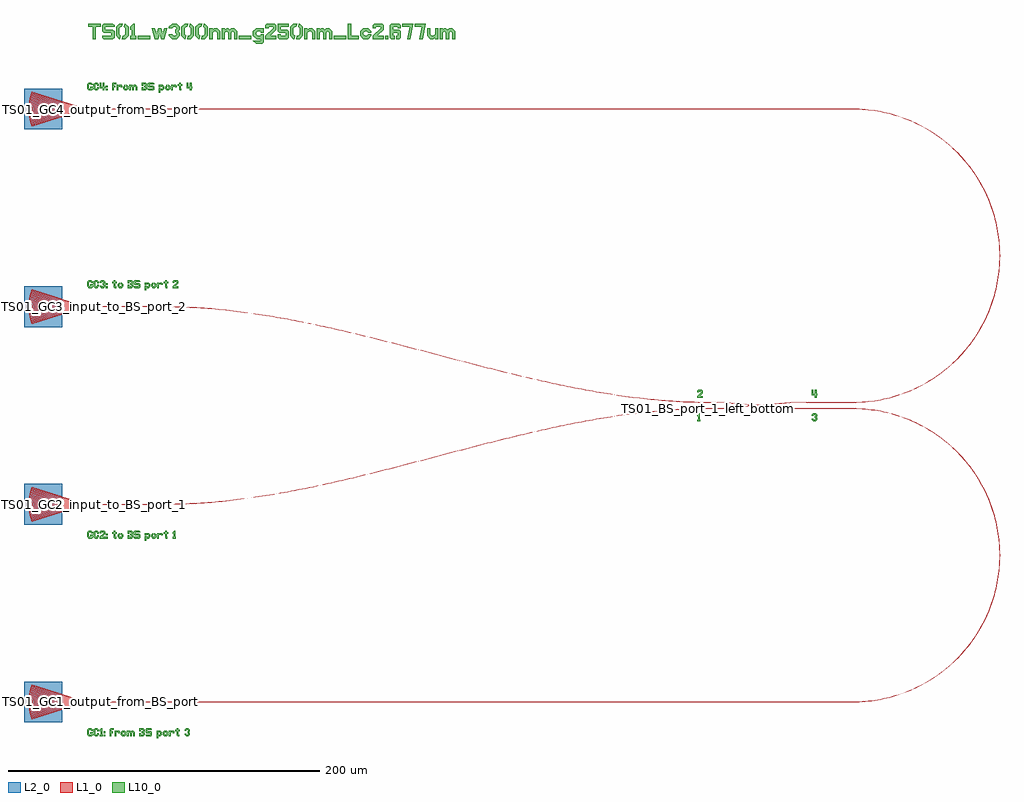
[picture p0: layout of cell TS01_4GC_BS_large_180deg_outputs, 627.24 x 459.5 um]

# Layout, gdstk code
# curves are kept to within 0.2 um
from math import pi, radians
import gdstk
lib = gdstk.Library(unit=1e-6, precision=1e-09)
def R(c, l, rs):  # rectangles x0, y0, x1, y1
    for r in rs: c.add(gdstk.rectangle(r[:2], r[2:], *l))
def P(c, l, *ps):  # polygons
    for p in ps: c.add(gdstk.Polygon(p, *l))
L1_0 = (1, 0)
L2_0 = (2, 0)
L10_0 = (10, 0)

grating_coupler_ellipti_ = lib.new_cell('grating_coupler_ellipti_2639d331')
P(grating_coupler_ellipti_, L1_0, [(15.723,-4.923),(0,-0.25),(0,0.25),(15.723,4.923),(16.379,2.5),(16.6,0),(16.379,-2.5)],
  [(16.17,-5.184),(16.048,-5.018),(16.502,-3.548),(16.798,-2.041),(16.906,-1.023),(16.942,0),(16.906,1.023),(16.798,2.041),(16.502,3.548),(16.048,5.018),(16.17,5.184),(16.37,5.134),(16.698,4.138),(16.954,3.121),(17.202,1.569),(17.286,0),(17.202,-1.569),(16.954,-3.121),(16.698,-4.138),(16.37,-5.134)],
  [(16.819,-5.387),(16.697,-5.221),(17.169,-3.692),(17.438,-2.387),(17.59,-1.065),(17.627,0),(17.59,1.065),(17.438,2.387),(17.169,3.692),(16.697,5.221),(16.819,5.387),(17.019,5.337),(17.36,4.302),(17.626,3.245),(17.884,1.631),(17.971,0),(17.884,-1.631),(17.626,-3.245),(17.36,-4.302),(17.019,-5.337)],
  [(17.469,-5.59),(17.345,-5.424),(17.837,-3.836),(18.115,-2.48),(18.273,-1.106),(18.312,0),(18.273,1.106),(18.115,2.48),(17.837,3.836),(17.345,5.424),(17.469,5.59),(17.669,5.54),(18.021,4.466),(18.298,3.368),(18.566,1.693),(18.656,0),(18.566,-1.693),(18.298,-3.368),(18.021,-4.466),(17.669,-5.54)],
  [(18.117,-5.793),(17.995,-5.627),(18.504,-3.979),(18.793,-2.573),(18.957,-1.147),(18.997,0),(18.957,1.147),(18.793,2.573),(18.504,3.979),(17.995,5.627),(18.117,5.793),(18.317,5.743),(18.683,4.63),(18.97,3.492),(19.248,1.755),(19.341,0),(19.248,-1.755),(18.97,-3.492),(18.683,-4.63),(18.317,-5.743)],
  [(18.767,-5.996),(18.643,-5.83),(19.171,-4.123),(19.47,-2.666),(19.64,-1.189),(19.682,0),(19.64,1.189),(19.47,2.666),(19.171,4.123),(18.643,5.83),(18.767,5.996),(18.967,5.946),(19.345,4.793),(19.641,3.615),(19.929,1.818),(20.026,0),(19.929,-1.818),(19.641,-3.615),(19.345,-4.793),(18.967,-5.946)],
  [(19.416,-6.199),(19.292,-6.034),(19.838,-4.267),(20.148,-2.759),(20.324,-1.23),(20.367,0),(20.324,1.23),(20.148,2.759),(19.838,4.267),(19.292,6.034),(19.416,6.199),(19.616,6.148),(20.007,4.957),(20.313,3.739),(20.611,1.88),(20.711,0),(20.611,-1.88),(20.313,-3.739),(20.007,-4.957),(19.616,-6.148)],
  [(20.063,-6.403),(19.941,-6.237),(20.505,-4.41),(20.826,-2.852),(20.982,-1.589),(21.052,0),(20.982,1.589),(20.826,2.852),(20.505,4.41),(19.941,6.237),(20.063,6.403),(20.263,6.353),(20.668,5.121),(20.985,3.862),(21.293,1.942),(21.396,0),(21.293,-1.942),(20.985,-3.862),(20.668,-5.121),(20.263,-6.353)],
  [(20.712,-6.606),(20.59,-6.44),(21.089,-4.872),(21.503,-2.945),(21.691,-1.313),(21.737,0),(21.691,1.313),(21.503,2.945),(21.089,4.872),(20.59,6.44),(20.712,6.606),(20.912,6.556),(21.33,5.285),(21.657,3.986),(21.974,2.004),(22.081,0),(21.974,-2.004),(21.657,-3.986),(21.33,-5.285),(20.912,-6.556)],
  [(21.362,-6.809),(21.238,-6.643),(21.84,-4.698),(22.181,-3.038),(22.374,-1.355),(22.422,0),(22.374,1.355),(22.181,3.038),(21.84,4.698),(21.238,6.643),(21.362,6.809),(21.562,6.759),(21.992,5.448),(22.329,4.109),(22.656,2.066),(22.766,0),(22.656,-2.066),(22.329,-4.109),(21.992,-5.448),(21.562,-6.759)],
  [(22.01,-7.012),(21.888,-6.846),(22.507,-4.841),(22.858,-3.131),(23.058,-1.396),(23.107,0),(23.058,1.396),(22.858,3.131),(22.507,4.841),(21.888,6.846),(22.01,7.012),(22.21,6.962),(22.33,6.628),(22.75,5.27),(23.001,4.233),(23.338,2.128),(23.451,0),(23.338,-2.128),(23.001,-4.233),(22.75,-5.27),(22.33,-6.628),(22.21,-6.962)],
  [(22.66,-7.215),(22.536,-7.049),(23.174,-4.985),(23.536,-3.224),(23.713,-1.796),(23.792,0),(23.713,1.796),(23.536,3.224),(23.174,4.985),(22.536,7.049),(22.66,7.215),(22.86,7.165),(22.982,6.821),(23.414,5.423),(23.673,4.356),(24.02,2.19),(24.136,0),(24.02,-2.19),(23.673,-4.356),(23.414,-5.423),(22.982,-6.821),(22.86,-7.165)],
  [(23.307,-7.418),(23.185,-7.252),(23.841,-5.129),(24.214,-3.317),(24.425,-1.479),(24.477,0),(24.425,1.479),(24.214,3.317),(23.841,5.129),(23.185,7.252),(23.307,7.418),(23.507,7.368),(23.634,7.016),(24.079,5.577),(24.345,4.48),(24.701,2.252),(24.821,0),(24.701,-2.252),(24.345,-4.48),(24.079,-5.577),(23.634,-7.016),(23.507,-7.368)],
  [(23.956,-7.622),(23.834,-7.456),(24.508,-5.273),(24.891,-3.41),(25.078,-1.9),(25.162,0),(25.078,1.9),(24.891,3.41),(24.508,5.273),(23.834,7.456),(23.956,7.622),(24.156,7.572),(24.41,6.841),(24.743,5.731),(25.094,4.225),(25.383,2.314),(25.506,0),(25.383,-2.314),(25.094,-4.225),(24.743,-5.731),(24.41,-6.841),(24.156,-7.572)],
  [(24.606,-7.825),(24.483,-7.659),(25.176,-5.416),(25.569,-3.502),(25.792,-1.562),(25.847,0),(25.792,1.562),(25.569,3.502),(25.176,5.416),(24.483,7.659),(24.606,7.825),(24.805,7.775),(25.066,7.026),(25.408,5.884),(25.768,4.338),(26.065,2.376),(26.191,0),(26.065,-2.376),(25.768,-4.338),(25.408,-5.884),(25.066,-7.026),(24.805,-7.775)],
  [(25.255,-8.028),(25.131,-7.862),(25.843,-5.56),(26.247,-3.595),(26.476,-1.603),(26.532,0),(26.476,1.603),(26.247,3.595),(25.843,5.56),(25.131,7.862),(25.255,8.028),(25.455,7.978),(25.722,7.209),(26.073,6.038),(26.442,4.451),(26.746,2.438),(26.876,0),(26.746,-2.438),(26.442,-4.451),(26.073,-6.038),(25.722,-7.209),(25.455,-7.978)],
  [(25.904,-8.231),(25.78,-8.066),(26.51,-5.704),(26.924,-3.688),(27.159,-1.645),(27.217,0),(27.159,1.645),(26.924,3.688),(26.51,5.704),(25.78,8.066),(25.904,8.231),(26.104,8.18),(26.377,7.393),(26.737,6.192),(27.116,4.565),(27.428,2.501),(27.561,0),(27.428,-2.501),(27.116,-4.565),(26.737,-6.192),(26.377,-7.393),(26.104,-8.18)],
  [(26.553,-8.434),(26.43,-8.268),(27.177,-5.847),(27.602,-3.781),(27.843,-1.686),(27.902,0),(27.843,1.686),(27.602,3.781),(27.177,5.847),(26.43,8.268),(26.553,8.434),(26.752,8.384),(27.033,7.576),(27.402,6.346),(27.79,4.678),(28.11,2.563),(28.246,0),(28.11,-2.563),(27.79,-4.678),(27.402,-6.346),(27.033,-7.576),(26.752,-8.384)],
  [(27.2,-8.637),(27.078,-8.471),(27.494,-7.24),(27.844,-5.991),(28.279,-3.874),(28.492,-2.158),(28.587,0),(28.492,2.158),(28.279,3.874),(27.844,5.991),(27.494,7.24),(27.078,8.471),(27.2,8.637),(27.4,8.587),(27.689,7.76),(28.066,6.499),(28.464,4.791),(28.792,2.625),(28.931,0),(28.792,-2.625),(28.464,-4.791),(28.066,-6.499),(27.689,-7.76),(27.4,-8.587)],
  [(27.85,-8.84),(27.726,-8.674),(28.153,-7.414),(28.511,-6.135),(28.957,-3.967),(29.21,-1.769),(29.272,0),(29.21,1.769),(28.957,3.967),(28.511,6.135),(28.153,7.414),(27.726,8.674),(27.85,8.84),(28.05,8.79),(28.344,7.944),(28.731,6.653),(29.138,4.905),(29.473,2.687),(29.579,1.345),(29.616,0),(29.579,-1.345),(29.473,-2.687),(29.138,-4.905),(28.731,-6.653),(28.344,-7.944),(28.05,-8.79)],
  [(28.498,-9.044),(28.376,-8.878),(28.811,-7.588),(29.179,-6.278),(29.635,-4.06),(29.893,-1.81),(29.957,0),(29.893,1.81),(29.635,4.06),(29.179,6.278),(28.811,7.588),(28.376,8.878),(28.498,9.044),(28.698,8.994),(29,8.126),(29.395,6.807),(29.812,5.018),(30.155,2.749),(30.263,1.376),(30.301,0),(30.263,-1.376),(30.155,-2.749),(29.812,-5.018),(29.395,-6.807),(29,-8.126),(28.698,-8.994)],
  [(29.148,-9.247),(29.024,-9.081),(29.47,-7.761),(29.846,-6.422),(30.312,-4.153),(30.577,-1.852),(30.642,0),(30.577,1.852),(30.312,4.153),(29.846,6.422),(29.47,7.761),(29.024,9.081),(29.148,9.247),(29.348,9.197),(29.656,8.31),(30.06,6.961),(30.486,5.131),(30.837,2.811),(30.948,1.407),(30.986,0),(30.948,-1.407),(30.837,-2.811),(30.486,-5.131),(30.06,-6.961),(29.656,-8.31),(29.348,-9.197)],
  [(29.797,-9.45),(29.673,-9.284),(30.129,-7.935),(30.513,-6.566),(30.99,-4.246),(31.223,-2.366),(31.327,0),(31.223,2.366),(30.99,4.246),(30.513,6.566),(30.129,7.935),(29.673,9.284),(29.797,9.45),(29.997,9.4),(30.311,8.494),(30.724,7.114),(31.16,5.245),(31.4,3.825),(31.565,2.396),(31.671,0),(31.565,-2.396),(31.4,-3.825),(31.16,-5.245),(30.724,-7.114),(30.311,-8.494),(29.997,-9.4)],
  [(30.444,-9.653),(30.322,-9.487),(30.788,-8.11),(31.18,-6.71),(31.667,-4.339),(31.944,-1.935),(32.012,0),(31.944,1.935),(31.667,4.339),(31.18,6.71),(30.788,8.11),(30.322,9.487),(30.444,9.653),(30.644,9.603),(30.967,8.677),(31.389,7.268),(31.834,5.358),(32.2,2.935),(32.316,1.47),(32.356,0),(32.316,-1.47),(32.2,-2.935),(31.834,-5.358),(31.389,-7.268),(30.967,-8.677),(30.644,-9.603)],
  [(31.093,-9.856),(30.971,-9.69),(31.722,-7.332),(32.071,-5.89),(32.345,-4.432),(32.588,-2.469),(32.697,0),(32.588,2.469),(32.345,4.432),(32.071,5.89),(31.722,7.332),(30.971,9.69),(31.093,9.856),(31.293,9.806),(31.622,8.862),(32.054,7.422),(32.508,5.471),(32.882,2.997),(33,1.501),(33.041,0),(33,-1.501),(32.882,-2.997),(32.508,-5.471),(32.054,-7.422),(31.622,-8.862),(31.293,-9.806)],
  [(31.742,-10.059),(31.62,-9.893),(32.105,-8.456),(32.514,-6.997),(33.023,-4.525),(33.311,-2.018),(33.382,0),(33.311,2.018),(33.023,4.525),(32.514,6.997),(32.105,8.456),(31.62,9.893),(31.742,10.059),(31.942,10.009),(32.278,9.044),(32.718,7.576),(33.182,5.585),(33.437,4.073),(33.613,2.551),(33.726,0),(33.613,-2.551),(33.437,-4.073),(33.182,-5.585),(32.718,-7.576),(32.278,-9.044),(31.942,-10.009)],
  [(32.391,-10.263),(32.269,-10.097),(32.764,-8.63),(33.182,-7.141),(33.7,-4.618),(33.994,-2.059),(34.067,0),(33.994,2.059),(33.7,4.618),(33.182,7.141),(32.764,8.63),(32.269,10.097),(32.391,10.263),(32.591,10.213),(32.934,9.228),(33.383,7.729),(33.856,5.698),(34.245,3.121),(34.368,1.563),(34.411,0),(34.368,-1.563),(34.245,-3.121),(33.856,-5.698),(33.383,-7.729),(32.934,-9.228),(32.591,-10.213)],
  [(33.041,-10.466),(32.918,-10.3),(33.423,-8.803),(33.849,-7.284),(34.378,-4.71),(34.678,-2.101),(34.752,0),(34.678,2.101),(34.378,4.71),(33.849,7.284),(33.423,8.803),(32.918,10.3),(33.041,10.466),(33.24,10.416),(33.751,8.905),(34.181,7.368),(34.529,5.811),(34.927,3.184),(35.053,1.594),(35.096,0),(35.053,-1.594),(34.927,-3.184),(34.529,-5.811),(34.181,-7.368),(33.751,-8.905),(33.24,-10.416)],
  [(33.69,-10.669),(33.566,-10.503),(34.082,-8.977),(34.516,-7.428),(35.056,-4.803),(35.362,-2.142),(35.437,0),(35.362,2.142),(35.056,4.803),(34.516,7.428),(34.082,8.977),(33.566,10.503),(33.69,10.669),(33.89,10.619),(34.41,9.079),(34.848,7.512),(35.203,5.925),(35.609,3.246),(35.737,1.625),(35.781,0),(35.737,-1.625),(35.609,-3.246),(35.203,-5.925),(34.848,-7.512),(34.41,-9.079),(33.89,-10.619)],
  [(34.337,-10.872),(34.215,-10.706),(34.74,-9.151),(35.183,-7.572),(35.733,-4.896),(36.002,-2.728),(36.122,0),(36.002,2.728),(35.733,4.896),(35.183,7.572),(34.74,9.151),(34.215,10.706),(34.337,10.872),(34.537,10.822),(34.901,9.778),(35.376,8.191),(35.877,6.038),(36.154,4.404),(36.344,2.758),(36.466,0),(36.344,-2.758),(36.154,-4.404),(35.877,-6.038),(35.376,-8.191),(34.901,-9.778),(34.537,-10.822)],
  [(34.986,-11.075),(34.864,-10.909),(35.399,-9.324),(35.85,-7.715),(36.411,-4.989),(36.729,-2.225),(36.807,0),(36.729,2.225),(36.411,4.989),(35.85,7.715),(35.399,9.324),(34.864,10.909),(34.986,11.075),(35.186,11.025),(35.727,9.426),(36.182,7.799),(36.551,6.151),(36.972,3.37),(37.105,1.687),(37.151,0),(37.105,-1.687),(36.972,-3.37),(36.551,-6.151),(36.182,-7.799),(35.727,-9.426),(35.186,-11.025)])
R(grating_coupler_ellipti_, L2_0, [(15.6,-13.075,40.164,13.075)])

gc_1550_l2r_6bb96223 = lib.new_cell('gc_1550_l2r_6bb96223')
gc_1550_l2r_6bb96223.add(gdstk.Reference(grating_coupler_ellipti_, (0,0), rotation=pi))

text_gdsfactorypcompone_ = lib.new_cell('text_gdsfactorypcompone_0cec1d55')
P(text_gdsfactorypcompone_, L10_0, [(0.5,0),(0.5,1),(1,1),(1,3),(0.5,3),(0.5,4),(1.5,5),(2,5),(2,1),(2.5,1),(2.5,0)])

c_text_gdsfactorypcompone_ = lib.new_cell('text_gdsfactorypcompone_bb60dcc4')
P(c_text_gdsfactorypcompone_, L10_0, [(0.5,0),(0.5,1),(3,3.5),(3,4),(1.5,4),(1.5,3.5),(0.5,3.5),(0.5,4.5),(1,5),(3.5,5),(4,4.5),(4,3),(2,1),(4,1),(4,0)])

c_text_gdsfactorypcompone__ = lib.new_cell('text_gdsfactorypcompone_8bb6a0ed')
P(c_text_gdsfactorypcompone__, L10_0, [(1.5,0),(0.5,1),(0.5,1.5),(1.5,1.5),(2,1),(2.5,1),(3,1.5),(2.5,2),(2.5,3),(3,3.5),(2.5,4),(2,4),(1.5,3.5),(0.5,3.5),(0.5,4),(1.5,5),(3,5),(4,4),(4,3),(3.5,2.5),(4,2),(4,1),(3,0)])

c_text_gdsfactorypcompone___ = lib.new_cell('text_gdsfactorypcompone_e2f2af36')
P(c_text_gdsfactorypcompone___, L10_0, [(2.5,0),(2.5,1.5),(0.5,1.5),(0.5,5),(1.5,5),(1.5,2.5),(2.5,2.5),(2.5,5),(3.5,5),(3.5,2.5),(4,2.5),(4,1.5),(3.5,1.5),(3.5,0)])

bs_w300nm_g250nm_lc2_677 = lib.new_cell('BS_w300nm_g250nm_Lc2.677um_44d01')
P(bs_w300nm_g250nm_lc2_677, L1_0, [(29.833,0.125),(26.826,0.201),(23.655,0.401),(13.153,1.419),(9.324,1.713),(5.998,1.842),(0,1.85),(0,2.15),(6.002,2.142),(9.175,2.022),(13.013,1.733),(24.011,0.675),(27.007,0.493),(29.834,0.425),(34.007,0.439),(37.834,0.615),(41.496,0.918),(49.664,1.733),(53.836,2.041),(56.675,2.142),(62.677,2.15),(62.677,1.85),(56.679,1.842),(53.186,1.703),(49.857,1.449),(41.191,0.588),(37.353,0.283),(34.013,0.139)],
  [(0,-2.15),(0,-1.85),(5.998,-1.842),(9.324,-1.713),(13.153,-1.419),(23.655,-0.401),(26.826,-0.201),(29.833,-0.125),(34.348,-0.147),(38.021,-0.327),(41.691,-0.635),(49.857,-1.449),(54.018,-1.75),(57.178,-1.848),(62.677,-1.85),(62.677,-2.15),(57.176,-2.148),(54.503,-2.074),(50.164,-1.777),(41.496,-0.918),(37.834,-0.615),(34.007,-0.439),(29.834,-0.425),(27.007,-0.493),(24.011,-0.675),(13.013,-1.733),(9.175,-2.022),(6.002,-2.142)])
bs_w300nm_g250nm_lc2_677.add(gdstk.Reference(text_gdsfactorypcompone_, (-8,-10)))
bs_w300nm_g250nm_lc2_677.add(gdstk.Reference(c_text_gdsfactorypcompone_, (-8,5)))
bs_w300nm_g250nm_lc2_677.add(gdstk.Reference(c_text_gdsfactorypcompone__, (65.677,-10)))
bs_w300nm_g250nm_lc2_677.add(gdstk.Reference(c_text_gdsfactorypcompone___, (65.677,5)))
bs_w300nm_g250nm_lc2_677.add(gdstk.Label('BS_port_1_left_bottom', (0,-2), layer=11, texttype=0))
bs_w300nm_g250nm_lc2_677.add(gdstk.Label('BS_port_2_left_top', (0,2), layer=11, texttype=0))
bs_w300nm_g250nm_lc2_677.add(gdstk.Label('BS_port_3_right_bottom_through_of_1', (62.677,-2), layer=11, texttype=0))
bs_w300nm_g250nm_lc2_677.add(gdstk.Label('BS_port_4_right_top', (62.677,2), layer=11, texttype=0))

c_text_gdsfactorypcompone____ = lib.new_cell('text_gdsfactorypcompone_903b024a')
R(c_text_gdsfactorypcompone____, L10_0, [(33,0,41,2), (98,0,106,2), (159,0,167,2), (192,0,194,2)])
P(c_text_gdsfactorypcompone____, L10_0, [(44,0),(42,7),(44,7),(45,3.5),(46,7),(48,7),(49,3.5),(50,7),(52,7),(50,0),(48,0),(47,3.5),(46,0)],
  [(79,0),(79,7),(81,7),(81,6),(82,7),(84,7),(86,5),(86,0),(84,0),(84,4),(83,5),(82,5),(81,4),(81,0)],
  [(87,0),(87,7),(89,7),(89,6),(90,7),(91,7),(92,6),(93,7),(95,7),(97,5),(97,0),(95,0),(95,4),(94,5),(93,4),(93,0),(91,0),(91,4),(90,5),(89,4),(89,0)],
  [(109,-3),(107,-1),(112,-1),(112,0),(109.34,0),(107,2),(107,5),(109,7),(114,7),(114,4),(112,4),(112,5),(110,5),(109,4),(109,3),(110,2),(112,2),(112,3),(114,3),(114,-2),(113,-3)],
  [(140,0),(140,7),(142,7),(142,6),(143,7),(145,7),(147,5),(147,0),(145,0),(145,4),(144,5),(143,5),(142,4),(142,0)],
  [(148,0),(148,7),(150,7),(150,6),(151,7),(152,7),(153,6),(154,7),(156,7),(158,5),(158,0),(156,0),(156,4),(155,5),(154,4),(154,0),(152,0),(152,4),(151,5),(150,4),(150,0)],
  [(178,0),(176,2),(176,5),(178,7),(181,7),(183,5),(183,4),(181,4),(180,5),(179,5),(178,4),(178,3),(179,2),(180,2),(181,3),(183,3),(183,2),(181,0)],
  [(221,0),(219,2),(219,7),(221,7),(221,3),(222,2),(223,2),(224,3),(224,7),(226,7),(226,0),(224,0),(224,1),(223,0)],
  [(227,0),(227,7),(229,7),(229,6),(230,7),(231,7),(232,6),(233,7),(235,7),(237,5),(237,0),(235,0),(235,4),(234,5),(233,4),(233,0),(231,0),(231,4),(230,5),(229,4),(229,0)],
  [(4,0),(4,8),(1,8),(1,10),(9,10),(9,8),(6,8),(6,0)],
  [(11,0),(10,1),(10,2),(16,2),(16,4),(11,4),(10,5),(10,9),(11,10),(17,10),(18,9),(18,8),(12,8),(12,6),(17,6),(18,5),(18,1),(17,0)],
  [(21,0),(19,2),(19,8),(21,10),(23.3,10),(22.8,8),(22,8),(21,7),(21,3),(22,2),(21.5,0)],
  [(22.7,0),(23.2,2),(24,2),(25,3),(25,7),(24,8),(24.5,10),(25,10),(27,8),(27,2),(25,0)],
  [(28,0),(28,2),(29,2),(29,6),(28,6),(28,8),(30,10),(31,10),(31,2),(32,2),(32,0)],
  [(55,0),(53,2),(53,3),(55,3),(56,2),(57,2),(58,3),(57,4),(57,6),(58,7),(57,8),(56,8),(55,7),(53,7),(53,8),(55,10),(58,10),(60,8),(60,6),(59,5),(60,4),(60,2),(58,0)],
  [(63,0),(61,2),(61,8),(63,10),(65.3,10),(64.8,8),(64,8),(63,7),(63,3),(64,2),(63.5,0)],
  [(64.7,0),(65.2,2),(66,2),(67,3),(67,7),(66,8),(66.5,10),(67,10),(69,8),(69,2),(67,0)],
  [(72,0),(70,2),(70,8),(72,10),(74.3,10),(73.8,8),(73,8),(72,7),(72,3),(73,2),(72.5,0)],
  [(73.7,0),(74.2,2),(75,2),(76,3),(76,7),(75,8),(75.5,10),(76,10),(78,8),(78,2),(76,0)],
  [(115,0),(115,2),(120,7),(120,8),(117,8),(117,7),(115,7),(115,9),(116,10),(121,10),(122,9),(122,6),(118,2),(122,2),(122,0)],
  [(124,0),(123,1),(123,3),(125,3),(125,2),(128,2),(128,4),(124,4),(123,5),(123,10),(130,10),(130,8),(125,8),(125,6),(129,6),(130,5),(130,1),(129,0)],
  [(133,0),(131,2),(131,8),(133,10),(135.3,10),(134.8,8),(134,8),(133,7),(133,3),(134,2),(133.5,0)],
  [(134.7,0),(135.2,2),(136,2),(137,3),(137,7),(136,8),(136.5,10),(137,10),(139,8),(139,2),(137,0)],
  [(168,0),(168,10),(170,10),(170,2),(175,2),(175,0)],
  [(184,0),(184,2),(189,7),(189,8),(186,8),(186,7),(184,7),(184,9),(185,10),(190,10),(191,9),(191,6),(187,2),(191,2),(191,0)],
  [(196,0),(195,1),(195,9),(196,10),(201,10),(202,9),(202,7),(200,7),(200,8),(197,8),(197,6),(201,6),(202,5),(202,1),(201,0),(199,0),(199,2),(200,2),(200,4),(197,4),(197,2),(198,2),(198,0)],
  [(206,0),(207.6,8),(203,8),(203,10),(210,10),(208,0)],
  [(214,0),(215.6,8),(211,8),(211,10),(218,10),(216,0)])

c_text_gdsfactorypcompone_____ = lib.new_cell('text_gdsfactorypcompone_764e9859')
R(c_text_gdsfactorypcompone_____, L10_0, [(11,0,12,1), (11,2,12,3)])
P(c_text_gdsfactorypcompone_____, L10_0, [(18,0),(18,3.5),(19,3.5),(19,3),(19.5,3.5),(21,3.5),(21.5,3),(21.5,2),(20.5,2),(20.5,2.5),(19.5,2.5),(19,2),(19,0)],
  [(23,0),(22,1),(22,2.5),(23,3.5),(23.5,3.5),(23.5,2.5),(23,2),(23,1.5),(23.5,1),(24,1),(24.5,1.5),(24.5,2),(24,2.5),(24,3.5),(24.5,3.5),(25.5,2.5),(25.5,1),(24.5,0)],
  [(26,0),(26,3.5),(27,3.5),(27,3),(27.5,3.5),(28,3.5),(28.5,3),(29,3.5),(30,3.5),(31,2.5),(31,0),(30,0),(30,2),(29.5,2.5),(29,2),(29,0),(28,0),(28,2),(27.5,2.5),(27,2),(27,0)],
  [(45,-1.5),(45,1.5),(46,1.5),(46,1),(47,1),(47.5,1.5),(47.5,2),(47,2.5),(46,2.5),(46,2),(45,2),(45,3.5),(47.5,3.5),(48.5,2.5),(48.5,1),(47.5,0),(46,0),(46,-1.5)],
  [(50,0),(49,1),(49,2.5),(50,3.5),(50.5,3.5),(50.5,2.5),(50,2),(50,1.5),(50.5,1),(51,1),(51.5,1.5),(51.5,2),(51,2.5),(51,3.5),(51.5,3.5),(52.5,2.5),(52.5,1),(51.5,0)],
  [(53,0),(53,3.5),(54,3.5),(54,3),(54.5,3.5),(56,3.5),(56.5,3),(56.5,2),(55.5,2),(55.5,2.5),(54.5,2.5),(54,2),(54,0)],
  [(1.5,0),(0.5,1),(0.5,4),(1.5,5),(3,5),(4,4),(4,3.5),(3,3.5),(2.5,4),(2,4),(1.5,3.5),(1.5,1.5),(2,1),(3,1),(3,1.5),(2.5,1.5),(2.5,2.5),(4,2.5),(4,0.5),(3.5,0)],
  [(5.5,0),(4.5,1),(4.5,4),(5.5,5),(7,5),(8,4),(8,3),(7,3),(7,3.5),(6.5,4),(6,4),(5.5,3.5),(5.5,1.5),(6,1),(6.5,1),(7,1.5),(7,2),(8,2),(8,1),(7,0)],
  [(8.5,0),(8.5,1),(9,1),(9,3),(8.5,3),(8.5,4),(9.5,5),(10,5),(10,1),(10.5,1),(10.5,0)],
  [(15,0),(15,4.5),(15.5,5),(17.5,5),(17.5,4),(16,4),(16,3),(17,3),(17,2),(16,2),(16,0)],
  [(34,0),(34,2),(35,2),(35,1),(36,1),(36.5,1.5),(36,2),(35.6,2),(35.6,3),(36,3),(36.5,3.5),(36,4),(35,4),(35,3),(34,3),(34,5),(36.5,5),(37.5,4),(37.5,3),(37,2.5),(37.5,2),(37.5,1),(36.5,0)],
  [(38.5,0),(38,0.5),(38,1),(41,1),(41,2),(38.5,2),(38,2.5),(38,4.5),(38.5,5),(41.5,5),(42,4.5),(42,4),(39,4),(39,3),(41.5,3),(42,2.5),(42,0.5),(41.5,0)],
  [(58.5,0),(58,0.5),(58,3),(57,3),(57,4),(58,4),(58,5),(59,5),(59,4),(60,4),(60,3),(59,3),(59,1),(59.5,1),(59.5,0)],
  [(64,0),(63,1),(63,1.5),(64,1.5),(64.5,1),(65,1),(65.5,1.5),(65,2),(65,3),(65.5,3.5),(65,4),(64.5,4),(64,3.5),(63,3.5),(63,4),(64,5),(65.5,5),(66.5,4),(66.5,3),(66,2.5),(66.5,2),(66.5,1),(65.5,0)])

c_text_gdsfactorypcompone______ = lib.new_cell('text_gdsfactorypcompone_d52e5848')
R(c_text_gdsfactorypcompone______, L10_0, [(12.5,0,13.5,1), (12.5,2,13.5,3)])
P(c_text_gdsfactorypcompone______, L10_0, [(21,0),(20,1),(20,2.5),(21,3.5),(21.5,3.5),(21.5,2.5),(21,2),(21,1.5),(21.5,1),(22,1),(22.5,1.5),(22.5,2),(22,2.5),(22,3.5),(22.5,3.5),(23.5,2.5),(23.5,1),(22.5,0)],
  [(37.5,-1.5),(37.5,1.5),(38.5,1.5),(38.5,1),(39.5,1),(40,1.5),(40,2),(39.5,2.5),(38.5,2.5),(38.5,2),(37.5,2),(37.5,3.5),(40,3.5),(41,2.5),(41,1),(40,0),(38.5,0),(38.5,-1.5)],
  [(42.5,0),(41.5,1),(41.5,2.5),(42.5,3.5),(43,3.5),(43,2.5),(42.5,2),(42.5,1.5),(43,1),(43.5,1),(44,1.5),(44,2),(43.5,2.5),(43.5,3.5),(44,3.5),(45,2.5),(45,1),(44,0)],
  [(45.5,0),(45.5,3.5),(46.5,3.5),(46.5,3),(47,3.5),(48.5,3.5),(49,3),(49,2),(48,2),(48,2.5),(47,2.5),(46.5,2),(46.5,0)],
  [(1.5,0),(0.5,1),(0.5,4),(1.5,5),(3,5),(4,4),(4,3.5),(3,3.5),(2.5,4),(2,4),(1.5,3.5),(1.5,1.5),(2,1),(3,1),(3,1.5),(2.5,1.5),(2.5,2.5),(4,2.5),(4,0.5),(3.5,0)],
  [(5.5,0),(4.5,1),(4.5,4),(5.5,5),(7,5),(8,4),(8,3),(7,3),(7,3.5),(6.5,4),(6,4),(5.5,3.5),(5.5,1.5),(6,1),(6.5,1),(7,1.5),(7,2),(8,2),(8,1),(7,0)],
  [(8.5,0),(8.5,1),(11,3.5),(11,4),(9.5,4),(9.5,3.5),(8.5,3.5),(8.5,4.5),(9,5),(11.5,5),(12,4.5),(12,3),(10,1),(12,1),(12,0)],
  [(18,0),(17.5,0.5),(17.5,3),(16.5,3),(16.5,4),(17.5,4),(17.5,5),(18.5,5),(18.5,4),(19.5,4),(19.5,3),(18.5,3),(18.5,1),(19,1),(19,0)],
  [(26.5,0),(26.5,2),(27.5,2),(27.5,1),(28.5,1),(29,1.5),(28.5,2),(28.1,2),(28.1,3),(28.5,3),(29,3.5),(28.5,4),(27.5,4),(27.5,3),(26.5,3),(26.5,5),(29,5),(30,4),(30,3),(29.5,2.5),(30,2),(30,1),(29,0)],
  [(31,0),(30.5,0.5),(30.5,1),(33.5,1),(33.5,2),(31,2),(30.5,2.5),(30.5,4.5),(31,5),(34,5),(34.5,4.5),(34.5,4),(31.5,4),(31.5,3),(34,3),(34.5,2.5),(34.5,0.5),(34,0)],
  [(51,0),(50.5,0.5),(50.5,3),(49.5,3),(49.5,4),(50.5,4),(50.5,5),(51.5,5),(51.5,4),(52.5,4),(52.5,3),(51.5,3),(51.5,1),(52,1),(52,0)],
  [(55.5,0),(55.5,1),(56,1),(56,3),(55.5,3),(55.5,4),(56.5,5),(57,5),(57,1),(57.5,1),(57.5,0)])

c_text_gdsfactorypcompone_______ = lib.new_cell('text_gdsfactorypcompone_b450b07f')
R(c_text_gdsfactorypcompone_______, L10_0, [(12.5,0,13.5,1), (12.5,2,13.5,3)])
P(c_text_gdsfactorypcompone_______, L10_0, [(21,0),(20,1),(20,2.5),(21,3.5),(21.5,3.5),(21.5,2.5),(21,2),(21,1.5),(21.5,1),(22,1),(22.5,1.5),(22.5,2),(22,2.5),(22,3.5),(22.5,3.5),(23.5,2.5),(23.5,1),(22.5,0)],
  [(37.5,-1.5),(37.5,1.5),(38.5,1.5),(38.5,1),(39.5,1),(40,1.5),(40,2),(39.5,2.5),(38.5,2.5),(38.5,2),(37.5,2),(37.5,3.5),(40,3.5),(41,2.5),(41,1),(40,0),(38.5,0),(38.5,-1.5)],
  [(42.5,0),(41.5,1),(41.5,2.5),(42.5,3.5),(43,3.5),(43,2.5),(42.5,2),(42.5,1.5),(43,1),(43.5,1),(44,1.5),(44,2),(43.5,2.5),(43.5,3.5),(44,3.5),(45,2.5),(45,1),(44,0)],
  [(45.5,0),(45.5,3.5),(46.5,3.5),(46.5,3),(47,3.5),(48.5,3.5),(49,3),(49,2),(48,2),(48,2.5),(47,2.5),(46.5,2),(46.5,0)],
  [(1.5,0),(0.5,1),(0.5,4),(1.5,5),(3,5),(4,4),(4,3.5),(3,3.5),(2.5,4),(2,4),(1.5,3.5),(1.5,1.5),(2,1),(3,1),(3,1.5),(2.5,1.5),(2.5,2.5),(4,2.5),(4,0.5),(3.5,0)],
  [(5.5,0),(4.5,1),(4.5,4),(5.5,5),(7,5),(8,4),(8,3),(7,3),(7,3.5),(6.5,4),(6,4),(5.5,3.5),(5.5,1.5),(6,1),(6.5,1),(7,1.5),(7,2),(8,2),(8,1),(7,0)],
  [(9.5,0),(8.5,1),(8.5,1.5),(9.5,1.5),(10,1),(10.5,1),(11,1.5),(10.5,2),(10.5,3),(11,3.5),(10.5,4),(10,4),(9.5,3.5),(8.5,3.5),(8.5,4),(9.5,5),(11,5),(12,4),(12,3),(11.5,2.5),(12,2),(12,1),(11,0)],
  [(18,0),(17.5,0.5),(17.5,3),(16.5,3),(16.5,4),(17.5,4),(17.5,5),(18.5,5),(18.5,4),(19.5,4),(19.5,3),(18.5,3),(18.5,1),(19,1),(19,0)],
  [(26.5,0),(26.5,2),(27.5,2),(27.5,1),(28.5,1),(29,1.5),(28.5,2),(28.1,2),(28.1,3),(28.5,3),(29,3.5),(28.5,4),(27.5,4),(27.5,3),(26.5,3),(26.5,5),(29,5),(30,4),(30,3),(29.5,2.5),(30,2),(30,1),(29,0)],
  [(31,0),(30.5,0.5),(30.5,1),(33.5,1),(33.5,2),(31,2),(30.5,2.5),(30.5,4.5),(31,5),(34,5),(34.5,4.5),(34.5,4),(31.5,4),(31.5,3),(34,3),(34.5,2.5),(34.5,0.5),(34,0)],
  [(51,0),(50.5,0.5),(50.5,3),(49.5,3),(49.5,4),(50.5,4),(50.5,5),(51.5,5),(51.5,4),(52.5,4),(52.5,3),(51.5,3),(51.5,1),(52,1),(52,0)],
  [(55.5,0),(55.5,1),(58,3.5),(58,4),(56.5,4),(56.5,3.5),(55.5,3.5),(55.5,4.5),(56,5),(58.5,5),(59,4.5),(59,3),(57,1),(59,1),(59,0)])

c_text_gdsfactorypcompone________ = lib.new_cell('text_gdsfactorypcompone_c4a13507')
R(c_text_gdsfactorypcompone________, L10_0, [(12.5,0,13.5,1), (12.5,2,13.5,3)])
P(c_text_gdsfactorypcompone________, L10_0, [(19.5,0),(19.5,3.5),(20.5,3.5),(20.5,3),(21,3.5),(22.5,3.5),(23,3),(23,2),(22,2),(22,2.5),(21,2.5),(20.5,2),(20.5,0)],
  [(24.5,0),(23.5,1),(23.5,2.5),(24.5,3.5),(25,3.5),(25,2.5),(24.5,2),(24.5,1.5),(25,1),(25.5,1),(26,1.5),(26,2),(25.5,2.5),(25.5,3.5),(26,3.5),(27,2.5),(27,1),(26,0)],
  [(27.5,0),(27.5,3.5),(28.5,3.5),(28.5,3),(29,3.5),(29.5,3.5),(30,3),(30.5,3.5),(31.5,3.5),(32.5,2.5),(32.5,0),(31.5,0),(31.5,2),(31,2.5),(30.5,2),(30.5,0),(29.5,0),(29.5,2),(29,2.5),(28.5,2),(28.5,0)],
  [(46.5,-1.5),(46.5,1.5),(47.5,1.5),(47.5,1),(48.5,1),(49,1.5),(49,2),(48.5,2.5),(47.5,2.5),(47.5,2),(46.5,2),(46.5,3.5),(49,3.5),(50,2.5),(50,1),(49,0),(47.5,0),(47.5,-1.5)],
  [(51.5,0),(50.5,1),(50.5,2.5),(51.5,3.5),(52,3.5),(52,2.5),(51.5,2),(51.5,1.5),(52,1),(52.5,1),(53,1.5),(53,2),(52.5,2.5),(52.5,3.5),(53,3.5),(54,2.5),(54,1),(53,0)],
  [(54.5,0),(54.5,3.5),(55.5,3.5),(55.5,3),(56,3.5),(57.5,3.5),(58,3),(58,2),(57,2),(57,2.5),(56,2.5),(55.5,2),(55.5,0)],
  [(1.5,0),(0.5,1),(0.5,4),(1.5,5),(3,5),(4,4),(4,3.5),(3,3.5),(2.5,4),(2,4),(1.5,3.5),(1.5,1.5),(2,1),(3,1),(3,1.5),(2.5,1.5),(2.5,2.5),(4,2.5),(4,0.5),(3.5,0)],
  [(5.5,0),(4.5,1),(4.5,4),(5.5,5),(7,5),(8,4),(8,3),(7,3),(7,3.5),(6.5,4),(6,4),(5.5,3.5),(5.5,1.5),(6,1),(6.5,1),(7,1.5),(7,2),(8,2),(8,1),(7,0)],
  [(10.5,0),(10.5,1.5),(8.5,1.5),(8.5,5),(9.5,5),(9.5,2.5),(10.5,2.5),(10.5,5),(11.5,5),(11.5,2.5),(12,2.5),(12,1.5),(11.5,1.5),(11.5,0)],
  [(16.5,0),(16.5,4.5),(17,5),(19,5),(19,4),(17.5,4),(17.5,3),(18.5,3),(18.5,2),(17.5,2),(17.5,0)],
  [(35.5,0),(35.5,2),(36.5,2),(36.5,1),(37.5,1),(38,1.5),(37.5,2),(37.1,2),(37.1,3),(37.5,3),(38,3.5),(37.5,4),(36.5,4),(36.5,3),(35.5,3),(35.5,5),(38,5),(39,4),(39,3),(38.5,2.5),(39,2),(39,1),(38,0)],
  [(40,0),(39.5,0.5),(39.5,1),(42.5,1),(42.5,2),(40,2),(39.5,2.5),(39.5,4.5),(40,5),(43,5),(43.5,4.5),(43.5,4),(40.5,4),(40.5,3),(43,3),(43.5,2.5),(43.5,0.5),(43,0)],
  [(60,0),(59.5,0.5),(59.5,3),(58.5,3),(58.5,4),(59.5,4),(59.5,5),(60.5,5),(60.5,4),(61.5,4),(61.5,3),(60.5,3),(60.5,1),(61,1),(61,0)],
  [(66.5,0),(66.5,1.5),(64.5,1.5),(64.5,5),(65.5,5),(65.5,2.5),(66.5,2.5),(66.5,5),(67.5,5),(67.5,2.5),(68,2.5),(68,1.5),(67.5,1.5),(67.5,0)])

ts01_4gc_bs_large_180deg = lib.new_cell('TS01_4GC_BS_large_180deg_outputs')
P(ts01_4gc_bs_large_180deg, L1_0, [(0,-190.75),(0,-190.25),(50,-190.35),(50,-190.65)],
  [(0,-63.75),(0,-63.25),(50,-63.35),(50,-63.65)],
  [(0,63.25),(0,63.75),(50,63.65),(50,63.35)],
  [(0,190.25),(0,190.75),(50,190.65),(50,190.35)],
  [(50.001,-63.65),(49.999,-63.35),(54.665,-63.318),(61.662,-63.15),(66.326,-62.961),(73.324,-62.567),(77.988,-62.233),(84.986,-61.629),(94.316,-60.641),(103.646,-59.457),(108.312,-58.796),(115.31,-57.723),(126.973,-55.732),(138.637,-53.512),(147.969,-51.589),(159.633,-49.024),(168.965,-46.86),(180.631,-44.039),(189.963,-41.707),(201.629,-38.718),(252.963,-25.288),(266.964,-21.747),(278.632,-18.903),(290.3,-16.184),(301.969,-13.618),(313.638,-11.233),(325.307,-9.055),(336.977,-7.112),(346.313,-5.746),(355.649,-4.561),(364.986,-3.573),(374.323,-2.794),(383.66,-2.239),(388.328,-2.051),(392.997,-1.923),(399.999,-1.85),(400.001,-2.15),(395.335,-2.182),(388.338,-2.35),(383.674,-2.539),(376.676,-2.933),(372.012,-3.267),(365.014,-3.871),(355.684,-4.859),(346.354,-6.043),(341.688,-6.704),(334.69,-7.777),(323.027,-9.768),(311.363,-11.988),(302.031,-13.911),(290.367,-16.476),(281.035,-18.64),(269.369,-21.461),(260.037,-23.793),(248.371,-26.782),(197.037,-40.212),(183.036,-43.753),(171.368,-46.597),(159.7,-49.316),(148.031,-51.882),(136.362,-54.267),(124.693,-56.445),(113.023,-58.388),(103.687,-59.754),(94.351,-60.939),(85.014,-61.927),(75.677,-62.706),(66.34,-63.261),(61.672,-63.449),(57.003,-63.577)],
  [(399.999,1.85),(392.997,1.923),(388.328,2.051),(383.66,2.239),(374.323,2.794),(364.986,3.573),(355.649,4.561),(346.313,5.746),(336.977,7.112),(325.307,9.055),(313.638,11.233),(301.969,13.618),(290.3,16.184),(278.632,18.903),(266.964,21.747),(252.963,25.288),(201.629,38.718),(189.963,41.707),(180.631,44.039),(168.965,46.86),(159.633,49.024),(147.969,51.589),(138.637,53.512),(126.973,55.732),(115.31,57.723),(108.312,58.796),(103.646,59.457),(94.316,60.641),(84.986,61.629),(77.988,62.233),(73.324,62.567),(66.326,62.961),(61.662,63.15),(54.665,63.318),(49.999,63.35),(50.001,63.65),(57.003,63.577),(61.672,63.449),(66.34,63.261),(75.677,62.706),(85.014,61.927),(94.351,60.939),(103.687,59.754),(113.023,58.388),(124.693,56.445),(136.362,54.267),(148.031,51.882),(159.7,49.316),(171.368,46.597),(183.036,43.753),(197.037,40.212),(248.371,26.782),(260.037,23.793),(269.369,21.461),(281.035,18.64),(290.367,16.476),(302.031,13.911),(311.363,11.988),(323.027,9.768),(334.69,7.777),(341.688,6.704),(346.354,6.043),(355.684,4.859),(365.014,3.871),(372.012,3.267),(376.676,2.933),(383.674,2.539),(388.338,2.35),(395.335,2.182),(400.001,2.15)],
  [(50,-190.65),(50,-190.35),(494.648,-190.329),(498.586,-190.164),(500.551,-190.02),(504.471,-189.608),(506.423,-189.341),(510.31,-188.683),(514.165,-187.864),(516.079,-187.394),(519.875,-186.334),(523.623,-185.116),(527.318,-183.742),(530.951,-182.215),(532.743,-181.394),(536.273,-179.642),(539.727,-177.743),(543.098,-175.701),(546.381,-173.52),(549.57,-171.203),(552.659,-168.755),(554.164,-167.483),(557.093,-164.846),(559.909,-162.088),(562.607,-159.215),(563.91,-157.737),(566.423,-154.7),(568.805,-151.561),(571.055,-148.324),(573.167,-144.996),(574.17,-143.3),(576.069,-139.846),(577.821,-136.316),(579.424,-132.715),(580.169,-130.891),(581.543,-127.196),(582.761,-123.448),(583.821,-119.652),(584.721,-115.814),(585.11,-113.883),(585.768,-109.996),(586.262,-106.086),(586.591,-102.159),(586.756,-98.221),(586.756,-94.279),(586.591,-90.341),(586.447,-88.376),(586.035,-84.456),(585.459,-80.557),(584.721,-76.686),(583.821,-72.848),(582.761,-69.052),(581.543,-65.304),(580.875,-63.449),(579.424,-59.785),(577.821,-56.184),(576.069,-52.654),(574.17,-49.2),(573.167,-47.504),(571.055,-44.176),(568.805,-40.939),(566.423,-37.8),(565.182,-36.268),(562.607,-33.285),(559.909,-30.412),(557.093,-27.654),(554.164,-25.017),(551.127,-22.504),(547.988,-20.122),(544.751,-17.872),(541.423,-15.76),(539.727,-14.757),(536.273,-12.858),(532.743,-11.106),(529.142,-9.503),(525.478,-8.052),(521.755,-6.756),(517.982,-5.616),(514.165,-4.636),(510.31,-3.817),(506.423,-3.159),(502.513,-2.665),(500.551,-2.48),(498.586,-2.336),(494.648,-2.171),(462.677,-2.15),(462.677,-1.85),(494.654,-1.871),(498.604,-2.036),(500.576,-2.181),(504.508,-2.594),(508.42,-3.172),(510.366,-3.522),(514.233,-4.344),(518.063,-5.327),(521.848,-6.47),(525.582,-7.771),(529.258,-9.226),(532.871,-10.834),(536.412,-12.592),(539.877,-14.497),(541.579,-15.504),(544.917,-17.622),(548.164,-19.879),(551.313,-22.269),(552.85,-23.514),(555.843,-26.097),(558.725,-28.804),(561.492,-31.629),(562.83,-33.084),(564.137,-34.567),(566.658,-37.614),(569.048,-40.763),(571.305,-44.01),(572.382,-45.668),(574.43,-49.05),(576.335,-52.515),(578.093,-56.056),(578.916,-57.854),(580.448,-61.499),(581.826,-65.205),(582.457,-67.079),(583.6,-70.864),(584.583,-74.694),(585.014,-76.623),(585.755,-80.507),(586.333,-84.419),(586.56,-86.383),(586.891,-90.323),(586.994,-92.297),(587.077,-96.25),(586.994,-100.203),(586.891,-102.177),(586.56,-106.117),(586.064,-110.04),(585.405,-113.939),(584.583,-117.806),(583.6,-121.636),(582.457,-125.421),(581.826,-127.295),(580.448,-131.001),(578.916,-134.646),(578.093,-136.444),(576.335,-139.985),(574.43,-143.45),(572.382,-146.832),(571.305,-148.49),(569.048,-151.737),(566.658,-154.886),(564.137,-157.933),(561.492,-160.871),(560.123,-162.298),(557.298,-165.065),(554.36,-167.71),(551.313,-170.231),(548.164,-172.621),(546.552,-173.766),(543.259,-175.955),(539.877,-178.003),(536.412,-179.908),(532.871,-181.666),(531.073,-182.489),(527.428,-184.021),(523.722,-185.399),(521.848,-186.03),(518.063,-187.173),(514.233,-188.156),(512.304,-188.587),(508.42,-189.328),(504.508,-189.906),(502.544,-190.133),(498.604,-190.464),(496.63,-190.567),(492.677,-190.65)],
  [(462.677,1.85),(462.677,2.15),(494.648,2.171),(498.586,2.336),(500.551,2.48),(502.513,2.665),(506.423,3.159),(510.31,3.817),(514.165,4.636),(517.982,5.616),(521.755,6.756),(525.478,8.052),(529.142,9.503),(532.743,11.106),(536.273,12.858),(539.727,14.757),(541.423,15.76),(544.751,17.872),(547.988,20.122),(551.127,22.504),(554.164,25.017),(557.093,27.654),(559.909,30.412),(562.607,33.285),(563.91,34.763),(566.423,37.8),(568.805,40.939),(571.055,44.176),(573.167,47.504),(574.17,49.2),(576.069,52.654),(577.821,56.184),(579.424,59.785),(580.875,63.449),(581.543,65.304),(582.761,69.052),(583.821,72.848),(584.721,76.686),(585.459,80.557),(586.035,84.456),(586.447,88.376),(586.591,90.341),(586.756,94.279),(586.756,98.221),(586.591,102.159),(586.262,106.086),(585.768,109.996),(585.11,113.883),(584.721,115.814),(583.821,119.652),(582.761,123.448),(581.543,127.196),(580.169,130.891),(579.424,132.715),(577.821,136.316),(576.069,139.846),(574.17,143.3),(573.167,144.996),(571.055,148.324),(568.805,151.561),(566.423,154.7),(565.182,156.232),(562.607,159.215),(559.909,162.088),(557.093,164.846),(555.642,166.18),(552.659,168.755),(549.57,171.203),(546.381,173.52),(543.098,175.701),(539.727,177.743),(536.273,179.642),(532.743,181.394),(530.951,182.215),(527.318,183.742),(523.623,185.116),(519.875,186.334),(516.079,187.394),(514.165,187.864),(510.31,188.683),(506.423,189.341),(504.471,189.608),(500.551,190.02),(498.586,190.164),(494.648,190.329),(50,190.35),(50,190.65),(494.654,190.629),(498.604,190.464),(500.576,190.319),(504.508,189.906),(508.42,189.328),(510.366,188.978),(514.233,188.156),(518.063,187.173),(521.848,186.03),(523.722,185.399),(527.428,184.021),(531.073,182.489),(532.871,181.666),(536.412,179.908),(539.877,178.003),(543.259,175.955),(546.552,173.766),(548.164,172.621),(551.313,170.231),(554.36,167.71),(557.298,165.065),(560.123,162.298),(562.83,159.416),(564.137,157.933),(566.658,154.886),(569.048,151.737),(571.305,148.49),(572.382,146.832),(574.43,143.45),(576.335,139.985),(578.093,136.444),(579.701,132.831),(581.156,129.155),(582.457,125.421),(583.6,121.636),(584.583,117.806),(585.014,115.877),(585.755,111.993),(586.333,108.081),(586.56,106.117),(586.891,102.177),(587.056,98.227),(587.056,94.273),(586.891,90.323),(586.746,88.351),(586.333,84.419),(585.755,80.507),(585.405,78.561),(584.583,74.694),(583.6,70.864),(582.457,67.079),(581.156,63.345),(579.701,59.669),(578.093,56.056),(576.335,52.515),(574.43,49.05),(573.423,47.348),(571.305,44.01),(569.048,40.763),(566.658,37.614),(565.413,36.077),(562.83,33.084),(560.123,30.202),(557.298,27.435),(554.36,24.79),(551.313,22.269),(548.164,19.879),(544.917,17.622),(543.259,16.545),(539.877,14.497),(536.412,12.592),(532.871,10.834),(529.258,9.226),(525.582,7.771),(521.848,6.47),(518.063,5.327),(514.233,4.344),(510.366,3.522),(506.467,2.863),(504.508,2.594),(500.576,2.181),(498.604,2.036),(494.654,1.871)])
ts01_4gc_bs_large_180deg.add(gdstk.Reference(gc_1550_l2r_6bb96223, (0,-190.5)))
ts01_4gc_bs_large_180deg.add(gdstk.Reference(gc_1550_l2r_6bb96223, (0,-63.5)))
ts01_4gc_bs_large_180deg.add(gdstk.Reference(gc_1550_l2r_6bb96223, (0,63.5)))
ts01_4gc_bs_large_180deg.add(gdstk.Reference(gc_1550_l2r_6bb96223, (0,190.5)))
ts01_4gc_bs_large_180deg.add(gdstk.Reference(bs_w300nm_g250nm_lc2_677, (400,0)))
ts01_4gc_bs_large_180deg.add(gdstk.Reference(c_text_gdsfactorypcompone____, (0,235.5)))
ts01_4gc_bs_large_180deg.add(gdstk.Reference(c_text_gdsfactorypcompone_____, (0,-212.5)))
ts01_4gc_bs_large_180deg.add(gdstk.Reference(c_text_gdsfactorypcompone______, (0,-85.5)))
ts01_4gc_bs_large_180deg.add(gdstk.Reference(c_text_gdsfactorypcompone_______, (0,75.5)))
ts01_4gc_bs_large_180deg.add(gdstk.Reference(c_text_gdsfactorypcompone________, (0,202.5)))
ts01_4gc_bs_large_180deg.add(gdstk.Label('TS01_GC1_output_from_BS_port_3', (0,-190.5), layer=11, texttype=0))
ts01_4gc_bs_large_180deg.add(gdstk.Label('TS01_GC2_input_to_BS_port_1', (0,-63.5), layer=11, texttype=0))
ts01_4gc_bs_large_180deg.add(gdstk.Label('TS01_GC3_input_to_BS_port_2', (0,63.5), layer=11, texttype=0))
ts01_4gc_bs_large_180deg.add(gdstk.Label('TS01_GC4_output_from_BS_port_4', (0,190.5), layer=11, texttype=0))
ts01_4gc_bs_large_180deg.add(gdstk.Label('TS01_BS_port_1_left_bottom', (400,-2), layer=11, texttype=0))
ts01_4gc_bs_large_180deg.add(gdstk.Label('TS01_BS_port_2_left_top', (400,2), layer=11, texttype=0))
ts01_4gc_bs_large_180deg.add(gdstk.Label('TS01_BS_port_3_right_bottom_through_of_1', (462.677,-2), layer=11, texttype=0))
ts01_4gc_bs_large_180deg.add(gdstk.Label('TS01_BS_port_4_right_top', (462.677,2), layer=11, texttype=0))

lib.write_gds('TS01_4GC_BS_large_180deg_outputs.gds')
